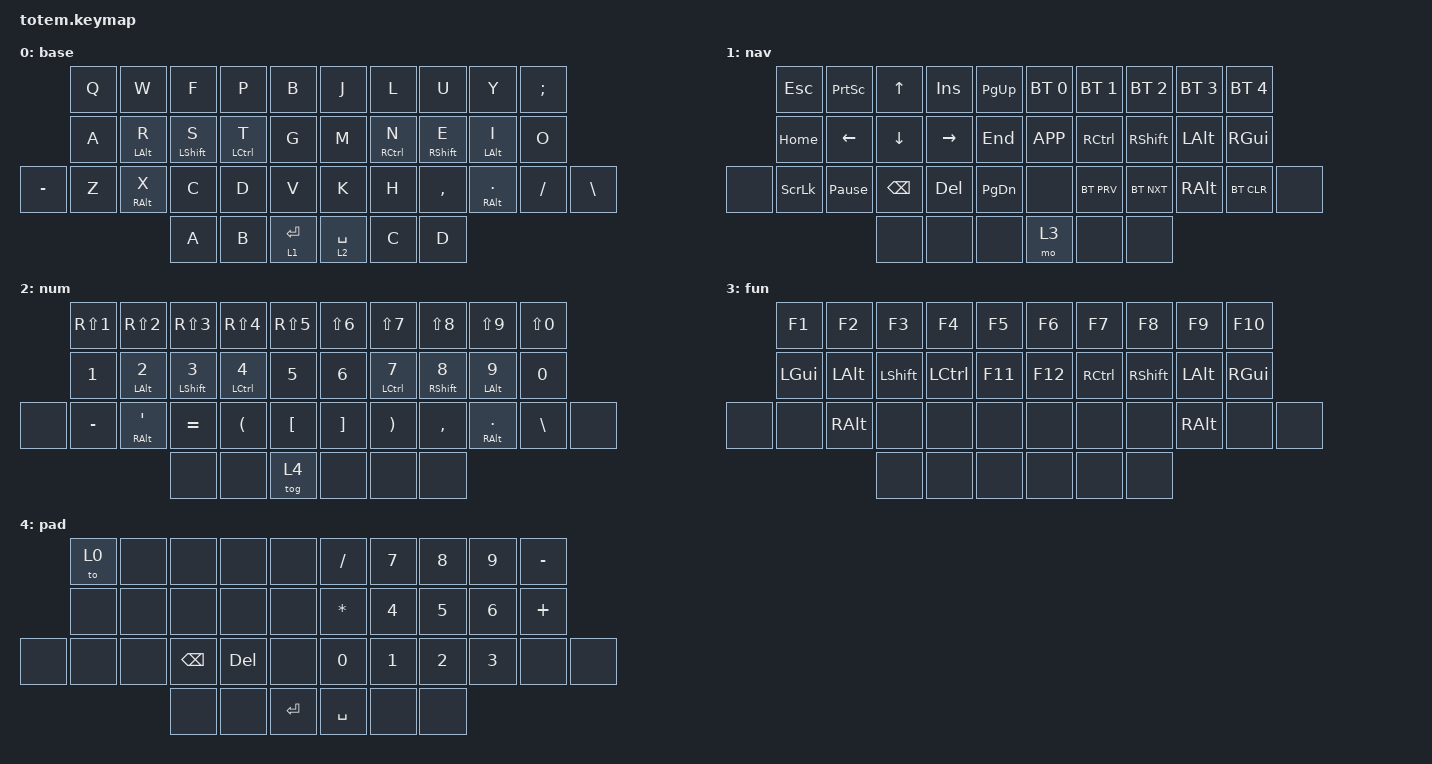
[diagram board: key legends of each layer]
//
//                                                        ▀▀▀▀▀     ▀▀▀▀▀          ▀▀█▀▀
//                                                        ▄▀▀▀▄  ▄  ▄▀▀▀▄  ▄  ▄▀▀▀▄  █  ▄▀▀▀▄
//                                                        █   █  █  █   █  █  █   █  █  █   █
//                                                         ▀▀▀   █   ▀▀▀   █   ▀▀▀   ▀   ▀▀▀
//                                                               █      ▄▄▄█▄▄▄    █   █  
//                                                               ▀      █  █  █     █▄█
//                                                             ▀▀▀▀▀    █  █  █      ▀
//                                                                      ▀  ▀  ▀
//
// ▄▄▄▄▄▄▄▄▄▄▄▄▄▄▄▄▄▄▄▄▄▄▄▄▄▄▄▄▄▄▄▄▄▄▄▄▄▄▄▄▄▄▄▄▄▄▄▄▄▄▄▄▄▄▄▄▄▄▄▄▄▄▄▄▄▄▄▄▄▄▄▄▄▄▄▄▄▄▄▄▄▄▄▄▄▄▄▄▄▄▄▄▄▄▄▄▄▄▄▄▄▄▄▄▄▄▄▄▄▄▄▄▄▄▄▄▄▄▄▄▄▄▄▄▄▄▄▄▄▄▄▄▄▄▄▄▄▄▄▄▄▄▄▄▄▄▄▄▄

#include <behaviors.dtsi>
#include <dt-bindings/zmk/bt.h>
#include <dt-bindings/zmk/keys.h>

/ {
    behaviors {
        hmlc: homerow_mod_lctrl {
            compatible = "zmk,behavior-hold-tap";
            label = "HOMEROW_MODS";
            #binding-cells = <2>;
            tapping-term-ms = <150>;
            quick-tap-ms = <0>;
            flavor = "balanced";
            hold-trigger-key-positions = <5 6 7 8 9 15 16 17 18 19 26 27 28 29 30 31>;
            bindings = <&kp>, <&kp>;
        };

        hmrc: homerow_mod_rctrl {
            compatible = "zmk,behavior-hold-tap";
            label = "HOMEROW_MODS";
            #binding-cells = <2>;
            tapping-term-ms = <150>;
            quick-tap-ms = <0>;
            flavor = "balanced";
            hold-trigger-key-positions = <0 1 2 3 4 10 11 12 13 14 20 21 22 23 24 25>;
            bindings = <&kp>, <&kp>;
        };

        hmls: homerow_mod_lshift {
            compatible = "zmk,behavior-hold-tap";
            label = "HOMEROW_MODS";
            #binding-cells = <2>;
            tapping-term-ms = <150>;
            quick-tap-ms = <0>;
            flavor = "balanced";
            hold-trigger-key-positions = <5 6 7 8 9 15 16 17 18 19 26 27 28 29 30 31>;
            bindings = <&kp>, <&kp>;
        };

        hmrs: homerow_mod_rshift {
            compatible = "zmk,behavior-hold-tap";
            label = "HOMEROW_MODS";
            #binding-cells = <2>;
            tapping-term-ms = <180>;
            quick-tap-ms = <0>;
            flavor = "balanced";
            hold-trigger-key-positions = <0 1 2 3 4 10 11 12 13 14 20 21 22 23 24 25>;
            bindings = <&kp>, <&kp>;
        };

        hmg: homerow_mod_gui {
            compatible = "zmk,behavior-hold-tap";
            label = "HOMEROW_MODS";
            #binding-cells = <2>;
            tapping-term-ms = <500>;
            quick-tap-ms = <0>;
            flavor = "balanced";
            bindings = <&kp>, <&kp>;
        };

        hmla: homerow_mod_lalt {
            compatible = "zmk,behavior-hold-tap";
            label = "HOMEROW_MODS";
            #binding-cells = <2>;
            tapping-term-ms = <400>;
            quick-tap-ms = <0>;
            flavor = "balanced";
            bindings = <&kp>, <&kp>;
        };

        hmra: homerow_mod_ralt {
            compatible = "zmk,behavior-hold-tap";
            label = "HOMEROW_MODS";
            #binding-cells = <2>;
            tapping-term-ms = <800>;
            quick-tap-ms = <0>;
            flavor = "tap-preferred";
            bindings = <&kp>, <&kp>;
        };
    };
};

/ {
    combos {
        compatible = "zmk,combos";

        Cmb_UmlA {
            bindings = <&kp RA(Q)>;
            key-positions = <0 10>;
            layers = <0>;
        };

        Cmb_UmlO {
            bindings = <&kp RA(P)>;
            key-positions = <9 19>;
            layers = <0>;
        };

        Cmb_UmlU {
            bindings = <&kp RA(Y)>;
            key-positions = <7 17>;
            layers = <0>;
        };

        Cmb_UmlS {
            bindings = <&kp RA(S)>;
            key-positions = <2 12>;
            layers = <0>;
        };

        Cmb_EUR {
            bindings = <&kp RA(N5)>;
            key-positions = <17 28>;
            layers = <0>;
        };

        Cmb_DQT {
            bindings = <&kp RA(N5)>;
            key-positions = <1 11>;
            layers = <0>;
        };

        Cmb_Grave {
            bindings = <&kp GRAVE>;
            key-positions = <11 22>;
            layers = <2>;
        };

        Cmb_LSFT {
            bindings = <&kp LSHFT>;
            key-positions = <12 13>;
            layers = <0 2 3>;
        };

        Cmb_RSFT {
            bindings = <&kp RSHFT>;
            key-positions = <16 17>;
            layers = <0 1 2 3>;
        };

        Cmb_LGUI {
            bindings = <&kp LGUI>;
            key-positions = <10 21>;
            layers = <0 2>;
        };

        Cmb_RGUI {
            bindings = <&kp RGUI>;
            key-positions = <19 30>;
            layers = <0 2>;
        };

        Cmb_ESC {
            bindings = <&kp ESC>;
            key-positions = <0 1>;
            layers = <0 1 2 3 4>;
        };

        Cmb_TAB {
            bindings = <&kp TAB>;
            key-positions = <23 24>;
            layers = <0 1 2 4>;
        };

        Cmb_CLCK {
            bindings = <&kp CLCK>;
            key-positions = <12 13 16 17>;
            layers = <1>;
        };

        Cmb_CLCKs {
            bindings = <&kp CLCK>;
            key-positions = <11 12 13>;
            layers = <1>;
        };

        Cmb_BSPC {
            bindings = <&kp BSPC>;
            key-positions = <27 28>;
            layers = <0 2 4>;
        };

        Cmb_DEL {
            bindings = <&kp DEL>;
            key-positions = <28 29>;
            layers = <0 2 4>;
        };

        Cmb_CtrlBSPC {
            bindings = <&kp LC(BSPC)>;
            key-positions = <27 28 29>;
            layers = <0 2>;
        };

        Cmb_CtrlDEL {
            bindings = <&kp LC(DEL)>;
            key-positions = <28 29 30>;
            layers = <0 2>;
        };

        Cmb_WordLeft {
            bindings = <&kp LC(LEFT)>;
            key-positions = <11 12>;
            layers = <1>;
        };

        Cmb_WordRight {
            bindings = <&kp LC(RIGHT)>;
            key-positions = <12 13>;
            layers = <1>;
        };

        Cmb_Cut {
            bindings = <&kp LC(X)>;
            key-positions = <21 22>;
            layers = <0>;
        };

        Cmb_Copy {
            bindings = <&kp LC(C)>;
            key-positions = <22 23>;
            layers = <0>;
        };

        Cmb_Paste {
            bindings = <&kp LC(V)>;
            key-positions = <21 22 23>;
            layers = <0>;
        };

        Cmb_Paste_sm {
            bindings = <&kp LC(V)>;
            key-positions = <23 25>;
            layers = <0>;
        };

        Cmb_Reset {
            bindings = <&bootloader>;
            key-positions = <11 12 13>;
            layers = <4>;
        };
    };

    keymap {
        compatible = "zmk,keymap";

        base {
            label = "base";
            bindings = <
           &kp Q  &kp W         &kp F          &kp P          &kp B        &kp J        &kp L          &kp U          &kp Y           &kp SEMI
           &kp A  &hmla LALT R  &hmls LSHFT S  &hmlc LCTRL T  &kp G        &kp M        &hmrc RCTRL N  &hmrs RSHFT E  &hmla LALT I    &kp O
&kp MINUS  &kp Z  &hmra RALT X  &kp C          &kp D          &kp V        &kp K        &kp H          &kp COMMA      &hmra RALT DOT  &kp FSLH  &kp BSLH
                                &kp A          &kp B          &lt 1 RET    &lt 2 SPACE  &kp C          &kp D
            >;
        };

        nav {
            label = "nav";
            bindings = <
       &kp ESC   &kp PSCRN        &kp UP    &kp INS    &kp PG_UP    &bt BT_SEL 0  &bt BT_SEL 1  &bt BT_SEL 2  &bt BT_SEL 3  &bt BT_SEL 4
       &kp HOME  &kp LEFT         &kp DOWN  &kp RIGHT  &kp END      &kp K_APP     &kp RCTRL     &kp RSHFT     &kp LALT      &kp RGUI
&none  &kp SLCK  &kp PAUSE_BREAK  &kp BSPC  &kp DEL    &kp PG_DN    &none         &bt BT_PRV    &bt BT_NXT    &kp RALT      &bt BT_CLR    &none
                                  &none     &none      &none        &mo 3         &none         &none
            >;
        };

        num {
            label = "num";
            bindings = <
       &kp RS(N1)  &kp RS(N2)      &kp RS(N3)      &kp RS(N4)      &kp RS(N5)    &kp LS(N6)  &kp LS(N7)      &kp LS(N8)      &kp LS(N9)      &kp LS(N0)
       &kp N1      &hmla LALT N2   &hmls LSHFT N3  &hmlc LCTRL N4  &kp N5        &kp N6      &hmrc LCTRL N7  &hmrs RSHFT N8  &hmla LALT N9   &kp N0
&none  &kp MINUS   &hmra RALT SQT  &kp EQUAL       &kp LPAR        &kp LBKT      &kp RBKT    &kp RPAR        &kp COMMA       &hmra RALT DOT  &kp BSLH    &none
                                   &none           &none           &tog 4        &none       &none           &none
            >;
        };

        fun {
            label = "fun";
            bindings = <
       &kp F1    &kp F2    &kp F3     &kp F4     &kp F5     &kp F6   &kp F7     &kp F8     &kp F9    &kp F10
       &kp LGUI  &kp LALT  &kp LSHFT  &kp LCTRL  &kp F11    &kp F12  &kp RCTRL  &kp RSHFT  &kp LALT  &kp RGUI
&none  &none     &kp RALT  &none      &none      &none      &none    &none      &none      &kp RALT  &none     &none
                           &none      &none      &none      &none    &none      &none
            >;
        };

        pad {
            label = "pad";
            bindings = <
       &to 0  &none  &none     &none    &none      &kp FSLH   &kp N7  &kp N8  &kp N9  &kp MINUS
       &none  &none  &none     &none    &none      &kp STAR   &kp N4  &kp N5  &kp N6  &kp PLUS
&none  &none  &none  &kp BSPC  &kp DEL  &none      &kp N0     &kp N1  &kp N2  &kp N3  &none      &none
                     &none     &none    &kp RET    &kp SPACE  &none   &none
            >;
        };
    };
};
